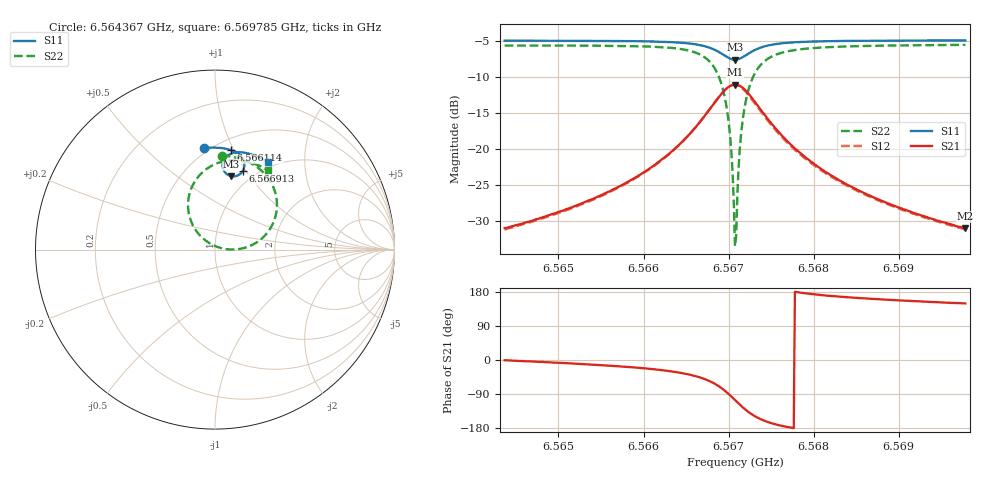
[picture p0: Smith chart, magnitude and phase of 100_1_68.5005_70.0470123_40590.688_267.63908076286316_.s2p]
#  HZ  S  RI  R  50.00
! Rohde & Schwarz Vector Network Analyzer
! Rohde-Schwarz,ZNB20-2Port,1311601062101988,3.16
! Created: UTC 3/20/2024, 5:08:09 PM
! freq[Hz]  re:S11  im:S11  re:S21  im:S21  re:S12  im:S12  re:S22  im:S22
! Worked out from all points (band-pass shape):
!   401 points, 6.564367 GHz to 6.569785 GHz, reference 50 ohm
!   highest |S21| = -11.01 dB at 6.567076 GHz (marker M1); lowest = -31.0 dB at 6.569785 GHz (marker M2)
!   |S21| within 3 dB of the highest: 6.566806 GHz to 6.567348 GHz (541.6 kHz wide, 0.00825 % of centre)
!   lowest |S11| = -7.6 dB at 6.567076 GHz (marker M3), VSWR 2.44, Z = 41.4 + j41.1 ohm
!   |S11| at or under -10 dB: nowhere
!   |S22| runs from -33.5 to -5.5 dB; largest |S21 - S12| = 0.013
!   S11 on the Smith chart (normalised r, x): 6.564367 GHz: 0.47, +0.78; 6.566114 GHz: 0.60, +0.98; 6.566913 GHz: 0.87, +0.97; 6.569785 GHz: 0.91, +1.33
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6.5643666e9  -0.0622 0.5656  0.0282 -0.000421  0.0276 -0.000916  0.0376 0.5242
6.5652742e9  0.0123 0.5677  0.0412 -0.0078  0.0405 -0.00822  0.1237 0.5108
6.5661141e9  0.0907 0.5538  0.0696 -0.0314  0.0686 -0.0321  0.2329 0.4608
6.5661818e9  0.0978 0.5512  0.0734 -0.0357  0.0724 -0.0366  0.2444 0.4521
6.5664798e9  0.1322 0.5319  0.0945 -0.0681  0.093 -0.0694  0.3035 0.3882
6.5666966e9  0.1573 0.5006  0.1085 -0.1225  0.106 -0.1247  0.3428 0.2834
6.5668185e9  0.1639 0.4693  0.101 -0.1772  0.0968 -0.1804  0.3352 0.1791
6.5669133e9  0.1548 0.4377  0.0684 -0.2312  0.0609 -0.2344  0.277 0.0774
6.5669675e9  0.1398 0.4208  0.0315 -0.2593  0.0216 -0.2608  0.209 0.0269
6.5670082e9  0.1232 0.4117  -0.00534 -0.2732  -0.0168 -0.2722  0.1416 0.00421
6.5670353e9  0.1103 0.4084  -0.0332 -0.2765  -0.045 -0.2737  0.0917 0.000429
6.5670624e9  0.0967 0.4082  -0.0619 -0.2743  -0.0737 -0.2696  0.0408 0.00681
6.5670759e9  0.09 0.4093  -0.076 -0.2711  -0.0877 -0.2653  0.016 0.0138
6.567103e9  0.077 0.4138  -0.1031 -0.2608  -0.1138 -0.253  -0.0304 0.0358
6.5671301e9  0.0656 0.4208  -0.1272 -0.2455  -0.1364 -0.236  -0.0705 0.0657
6.5671707e9  0.0522 0.435  -0.1552 -0.2162  -0.1619 -0.2053  -0.115 0.1205
6.5672249e9  0.0435 0.457  -0.1768 -0.1727  -0.1797 -0.1616  -0.1454 0.1992
6.5672927e9  0.0433 0.4824  -0.1827 -0.1231  -0.1825 -0.1133  -0.1473 0.2864
6.5675365e9  0.0808 0.5306  -0.1404 -0.0277  -0.1373 -0.0235  -0.0503 0.4468
6.5679835e9  0.1439 0.5423  -0.0802 0.00862  -0.0782 0.00986  0.086 0.4975
6.5688912e9  0.2284 0.5213  -0.0388 0.0151  -0.038 0.0153  0.2161 0.4795
6.5697852e9  0.2943 0.489  -0.0242 0.0144  -0.0236 0.0144  0.2942 0.4433
